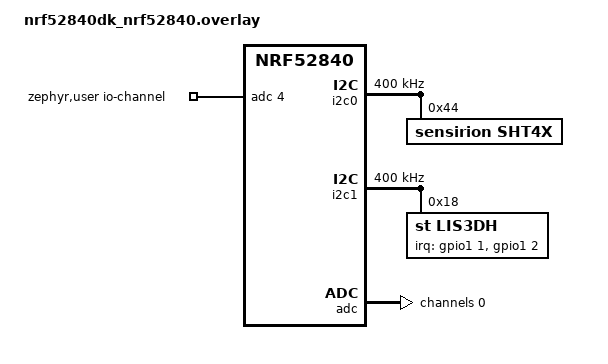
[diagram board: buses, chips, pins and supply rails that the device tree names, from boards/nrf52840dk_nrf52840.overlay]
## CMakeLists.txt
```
# Copyright (c) Blecon Ltd
# SPDX-License-Identifier: Apache-2.0

cmake_minimum_required(VERSION 3.20.0)

set(CMAKE_C_STANDARD 11)
set_property(GLOBAL PROPERTY CSTD c11)

# include top-level application defines
include(../../cmake/app.cmake)

find_package(Zephyr REQUIRED HINTS $ENV{ZEPHYR_BASE})


project(sensor-memfault)
target_sources(app PRIVATE src/main.c)

zephyr_include_directories(config)
```

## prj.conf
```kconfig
# Copyright (c) Blecon Ltd
# SPDX-License-Identifier: Apache-2.0
CONFIG_BT_DIS_MODEL="S5-BCN"
CONFIG_BT_DIS_MANUF="KKM"

CONFIG_GPIO=y
CONFIG_PWM=y
CONFIG_LED=y
CONFIG_INPUT=y
CONFIG_INPUT_MODE_SYNCHRONOUS=y
CONFIG_ZCBOR=y
CONFIG_ADC=y
CONFIG_FPU=y
CONFIG_I2C=y
CONFIG_SENSOR=y

# DFU Image Management
CONFIG_FLASH_JESD216_API=y
CONFIG_FLASH_MAP=y
CONFIG_STREAM_FLASH=y
CONFIG_IMG_MANAGER=y
CONFIG_IMG_ENABLE_IMAGE_CHECK=y
CONFIG_IMG_ERASE_PROGRESSIVELY=y

# Use PSA for flash integrity checks, not Mbed TLS
CONFIG_FLASH_AREA_CHECK_INTEGRITY_PSA=y
CONFIG_FLASH_AREA_CHECK_INTEGRITY_MBEDTLS=n

# Motion sensing interrupt configuration
CONFIG_LIS2DH_TRIGGER_GLOBAL_THREAD=y
#CONFIG_LIS2DH_TRIGGER_OWN_THREAD=y
CONFIG_LIS2DH_ACCEL_HP_FILTERS=y

# Enable battery monitoring
CONFIG_BLECON_LIB_BATTERY=y

# Enable motion sensing
CONFIG_BLECON_LIB_MOTION=y

# Enable Blecon integration
CONFIG_BLECON=y

# Enable Memfault integration
CONFIG_MEMFAULT=y
CONFIG_MEMFAULT_METRICS_DEFAULT_SET_ENABLE=y
CONFIG_MEMFAULT_METRICS_CPU_TEMP=n
CONFIG_MEMFAULT_METRICS_CONNECTIVITY_CONNECTED_TIME=n
CONFIG_MEMFAULT_USER_CONFIG_SILENT_FAIL=n

CONFIG_BLECON_MEMFAULT=y
CONFIG_BLECON_MEMFAULT_SOFTWARE_TYPE="main"

# Enable OTA library
CONFIG_BLECON_LIB_OTA=y

# Disable Nordic-provided Memfault integration
CONFIG_MEMFAULT_NCS_PROJECT_KEY="XXX"
CONFIG_MEMFAULT_NCS_FW_TYPE="XXX"
CONFIG_MEMFAULT_NCS_DEVICE_ID="XXX"
CONFIG_MEMFAULT_NCS_FW_VERSION_PREFIX="dev2+"
CONFIG_MEMFAULT_NCS_PROVISION_CERTIFICATES=n
CONFIG_MEMFAULT_NCS_STACK_METRICS=n
CONFIG_MEMFAULT_DEVICE_INFO_CUSTOM=y

# Events
CONFIG_EVENTS=y

# Logging
CONFIG_PRINTK=y
CONFIG_LOG=y
CONFIG_LOG_PRINTK=y
CONFIG_LOG_BUFFER_SIZE=4096
CONFIG_SHELL_LOG_BACKEND=n
CONFIG_LOG_DEFAULT_LEVEL=3

# Optimize for size
CONFIG_SIZE_OPTIMIZATIONS=y
# CONFIG_DEBUG_OPTIMIZATIONS=y

# Heap
CONFIG_HEAP_MEM_POOL_SIZE=4096

# Main thread
CONFIG_MAIN_STACK_SIZE=16384

# System workqueue
CONFIG_SYSTEM_WORKQUEUE_STACK_SIZE=16384

# Asserts
CONFIG_ASSERT=y
CONFIG_ASSERT_VERBOSE=y

# Shell
CONFIG_SHELL=n
CONFIG_SHELL_BACKEND_SERIAL=n
```

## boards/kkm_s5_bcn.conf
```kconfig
# Copyright (c) Blecon Ltd
# SPDX-License-Identifier: Apache-2.0

CONFIG_MEMFAULT_RAM_BACKED_COREDUMP_SIZE=4096
CONFIG_LOG_BUFFER_SIZE=2048

# Select internal modem
CONFIG_BLECON_EXTERNAL_MODEM=n
CONFIG_BLECON_INTERNAL_MODEM=y
CONFIG_BLECON_INTERNAL_MODEM_NFC=n

# Internal modem platform
CONFIG_BLECON_PORT_CRYPTO=y
CONFIG_BLECON_PORT_NVM=y
CONFIG_BLECON_PORT_BLUETOOTH=y
CONFIG_BLECON_PORT_EVENT_LOOP=y
CONFIG_BLECON_PORT_NFC=n

# Bluetooth
CONFIG_BT=y
CONFIG_BT_OBSERVER=y
CONFIG_BT_BROADCASTER=y
CONFIG_BT_PERIPHERAL=y
CONFIG_BT_USER_PHY_UPDATE=y

# At the moment, the following options are required to get L2CAP dynamic channels enabled
CONFIG_BT_SMP=y
# CONFIG_BT_CONN_DISABLE_SECURITY=y
CONFIG_BT_PRIVACY=n

CONFIG_BT_EXT_ADV=y
CONFIG_BT_L2CAP_DYNAMIC_CHANNEL=y
CONFIG_BT_L2CAP_SEG_RECV=y
CONFIG_BT_EXT_ADV_MAX_ADV_SET=3
CONFIG_BT_ID_MAX=3
CONFIG_BT_LONG_WQ=n
CONFIG_BT_BONDABLE=n
CONFIG_BT_GATT_SERVICE_CHANGED=n
CONFIG_BT_GATT_CACHING=n
CONFIG_BT_GATT_ENFORCE_SUBSCRIPTION=n
CONFIG_BT_GATT_READ_MULTIPLE=n
CONFIG_BT_DEVICE_NAME="Blecon"
CONFIG_BT_DIS=y
CONFIG_BT_DIS_PNP=n
CONFIG_BT_ECC=n

# Needs to be 1 + number of expected connections; See: https://devzone.nordicsemi.com/f/nordic-q-a/77588/advertising-failed-to-start-err--12/321268
CONFIG_BT_MAX_CONN=2

# Connection parameter update procedure
CONFIG_BT_CONN_PARAM_UPDATE_TIMEOUT=500

# DLE
CONFIG_BT_USER_DATA_LEN_UPDATE=y

# Needed to achieve MTU without fragmentation
CONFIG_BT_BUF_ACL_TX_COUNT=8
CONFIG_BT_BUF_ACL_TX_SIZE=251
CONFIG_BT_BUF_ACL_RX_SIZE=251
CONFIG_BT_L2CAP_TX_MTU=247

# Increase HCI RX stack size
CONFIG_BT_RX_STACK_SIZE=4096

# Bluetooth controller
# Uncomment to use the Zephyr link layer
# CONFIG_BT_LL_SW_SPLIT=y
CONFIG_BT_CTLR_CRYPTO=n
CONFIG_BT_CTLR_LE_ENC=n
CONFIG_BT_CTLR_ECDH=n
CONFIG_BT_CTLR_PHY_2M=n
CONFIG_BT_CTLR_PRIVACY=n
CONFIG_BT_LL_SOFTDEVICE_MULTIROLE=y
CONFIG_BT_CTLR_DATA_LENGTH_MAX=251

# NFC
#CONFIG_NFC_T2T_NRFXLIB=n
#CONFIG_NFC_NDEF_URI_MSG=n
#CONFIG_NFC_NDEF=y
#CONFIG_NFC_NDEF_MSG=y
#CONFIG_NFC_NDEF_RECORD=y
#CONFIG_NFC_NDEF_URI_REC=y

# Crypto
CONFIG_ENTROPY_GENERATOR=y

CONFIG_NRF_SECURITY=y
CONFIG_MBEDTLS_PSA_CRYPTO_C=y

CONFIG_MBEDTLS_ENABLE_HEAP=y
CONFIG_MBEDTLS_HEAP_SIZE=8192

# NVM
CONFIG_FLASH=y
CONFIG_FLASH_PAGE_LAYOUT=y

# Logging Output
CONFIG_LOG_BACKEND_RTT=y

# ADC
CONFIG_ADC_NRFX_SAADC=y

# SPI
CONFIG_SPI=y
CONFIG_SPI_NOR=y
CONFIG_SPI_NOR_FLASH_LAYOUT_PAGE_SIZE=4096
CONFIG_SPI_NRFX_RAM_BUFFER_SIZE=32
CONFIG_PM_OVERRIDE_EXTERNAL_DRIVER_CHECK=y
```

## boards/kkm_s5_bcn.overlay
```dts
/*
 * Copyright (c) Blecon Ltd
 * SPDX-License-Identifier: Apache-2.0
 */

/ {
    zephyr,user {
		io-channels = <&adc 0>;
	};
	aliases {
		accel0 = &lis3dh;
	};
};
```

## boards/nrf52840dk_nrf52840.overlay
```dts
/*
 * Copyright (c) Blecon Ltd
 * SPDX-License-Identifier: Apache-2.0
 */

/ {
    chosen {
        nordic,pm-ext-flash = &mx25r64;
    };

    zephyr,user {
		io-channels = <&adc 4>;
	};
    aliases {
		accel0 = &lis3dh;
	};
};

&i2c0 {
    compatible = "nordic,nrf-twim";
    clock-frequency = <I2C_BITRATE_FAST>;

    sht4x: sht4x@44 {
        compatible = "sensirion,sht4x";
        repeatability = <1>;
        reg = <0x44>;
        status = "okay";
    };

};

&i2c1 {
    compatible = "nordic,nrf-twim";
    clock-frequency = <I2C_BITRATE_FAST>;
    status = "okay";

    lis3dh: lis3dh@18 {
        compatible = "st,lis3dh", "st,lis2dh";
        reg = <0x18>;
        irq-gpios = <&gpio1 1 GPIO_ACTIVE_HIGH>, <&gpio1 2 GPIO_ACTIVE_HIGH>;
        int1-gpio-config = <1>;
        int2-gpio-config = <1>;
        status = "okay";
    };
};

&adc {
    #address-cells = <1>;
	#size-cells = <0>;

	channel@0 {
		reg = <0>;
		zephyr,gain = "ADC_GAIN_1_6";
		zephyr,reference = "ADC_REF_INTERNAL";
		zephyr,acquisition-time = <ADC_ACQ_TIME_DEFAULT>;
		zephyr,input-positive = <NRF_SAADC_VDD>;
		zephyr,resolution = <12>;
		zephyr,oversampling = <8>;
	};
};
```

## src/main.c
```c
// Copyright (c) Blecon Ltd
// SPDX-License-Identifier: Apache-2.0

#include <stdio.h>
#include <zephyr/kernel.h>
#include <zephyr/logging/log.h>
#include <blecon/blecon.h>
#include <zephyr/drivers/gpio.h>
#include <zephyr/drivers/led.h>
#include <zephyr/input/input.h>
#include <zephyr/drivers/sensor/sht4x.h>

#include <zephyr/drivers/flash.h>
#include <zephyr/storage/flash_map.h>
#include <zephyr/dfu/flash_img.h>
#include <zephyr/sys/reboot.h>

#include <memfault/metrics/metrics.h>
#include <memfault/components.h>

#include "battery/battery.h"
#include <blecon/blecon_buffer.h>

#include "motion/motion.h"
#include "ota/ota.h"
#include "blecon_zephyr/blecon_zephyr.h"
#include "blecon_zephyr/blecon_zephyr_event_loop.h"
#include "blecon_zephyr/blecon_zephyr_memfault.h"
#include "blecon/blecon_memfault_client.h"

#define MEMFAULT_REQUEST_NAMESPACE "memfault"

LOG_MODULE_REGISTER(main, LOG_LEVEL_DBG);

#define MOTION_ACC_THRESHOLD 6.0   // Acceleration threshold to register a motion event (in m/s^2)

#define REPORT_PERIOD_SEC 30      // How frequently to check if there are metrics/dumps to send
#define OTA_CHECK_PERIOD_SEC 180  // How frequently to check if there are OTA updates
#define REBOOT_PERIOD_SEC 4500    // How frequently to reboot

#define FAST_BLINK_PERIOD_MS 200U
#define SLOW_BLINK_PERIOD_MS 500U

static bool _time_set = false;
static uint32_t _pre_uptime = 0;
static uint32_t _epoch = 0;

static struct blecon_t _blecon = {0};
static struct blecon_event_loop_t* _event_loop = NULL;

static struct blecon_event_t* _start_announce_event = NULL;
static struct blecon_event_t* _start_connect_event = NULL;
static struct blecon_event_t* _ota_check_event = NULL;
static struct blecon_event_t* _connected_event = NULL;

const static struct device *led_pwm;
const static struct device *sht = DEVICE_DT_GET_ANY(sensirion_sht4x);
const static struct device *accel = DEVICE_DT_GET(DT_ALIAS(accel0));

// Function prototypes
static uint32_t get_time(void);
static int read_temp_hum(float *temp, float *hum);
static void update_metrics(void);

// Connection callbacks
static void on_connection(struct blecon_t* blecon);
static void on_disconnection(struct blecon_t* blecon);
static void on_time_update(struct blecon_t* blecon);
static void on_ping_result(struct blecon_t* blecon);

const static struct blecon_callbacks_t blecon_callbacks = {
    .on_connection = on_connection,
    .on_disconnection = on_disconnection,
    .on_time_update = on_time_update,
    .on_ping_result = on_ping_result,
};

// Input and timer callbacks
static void led_timeout(struct k_timer *timer);
static void input_cb(struct input_event *evt, void* user_data);
static void send_report(struct k_timer *timer);
static void check_for_ota(struct k_timer *timer);
static void reboot(struct k_timer *timer);

K_TIMER_DEFINE(led_timer, led_timeout, NULL);
K_TIMER_DEFINE(report_timer, send_report, NULL);
K_TIMER_DEFINE(ota_timer, check_for_ota, NULL);
K_TIMER_DEFINE(reboot_timer, reboot, NULL);

INPUT_CALLBACK_DEFINE(NULL, input_cb, NULL);

// Motion
static uint32_t _motion_count = 0;
static uint32_t _gesture_count = 0;
void (*gesture_detection_callback)(void) = NULL; // Run gesture detection on motion events
void on_gesture_detected();

static void motion_start_event(void);
static void motion_stop_event(void);
static void motion_vector_event(float x, float y, float z);

const struct blecon_motion_event_callbacks_t motion_event_callbacks = {
    .start = motion_start_event,
    .stop = motion_stop_event,
    .vector = motion_vector_event
};

// Blecon activity triggers
static void on_announce_button(struct blecon_event_t* event, void* user_data);
static void on_start_connect(struct blecon_event_t* event, void* user_data);
static void on_check_for_ota(struct blecon_event_t* event, void* user_data);
static void on_connection_event(struct blecon_event_t* event, void* user_data);

uint32_t get_time(void) {
    bool time_valid = false;
    uint64_t utc_time_ms_now = 0;
    uint64_t utc_time_ms_last_updated = 0;
    bool b = blecon_get_time(&_blecon, &time_valid, &utc_time_ms_now, &utc_time_ms_last_updated);
    blecon_assert(b);
    blecon_assert(time_valid);
    return (uint32_t)(utc_time_ms_now / 1000);
}

void on_connection(struct blecon_t* blecon) {
    LOG_DBG("%s", "Connected");
    blecon_event_signal(_connected_event);
}

void on_disconnection(struct blecon_t* blecon) {
    LOG_DBG("%s", "Disconnected");
}

void on_time_update(struct blecon_t* blecon) {
    if (!_time_set) {
        _epoch = get_time() - _pre_uptime;
    }
    _time_set = true;
    LOG_DBG("%s", "Time updated");
}

void on_ping_result(struct blecon_t* blecon) {
    return;
}

void led_timeout(struct k_timer *timer) {
    int ret;
    ret = led_off(led_pwm, 0);
    if(ret < 0) {
        LOG_ERR("err=%d", ret);
        return;
    }
}

int read_temp_hum(float *temp, float *hum) {
    struct sensor_value s_temp, s_hum;

    if (sensor_sample_fetch(sht)) {
        LOG_ERR("%s", "Failed to fetch sample from SHT4X device");
        return -1;
    }

    sensor_channel_get(sht, SENSOR_CHAN_AMBIENT_TEMP, &s_temp);
    sensor_channel_get(sht, SENSOR_CHAN_HUMIDITY, &s_hum);

    *temp = sensor_value_to_float(&s_temp);
    *hum = sensor_value_to_float(&s_hum);

    return 0;
}

void send_report(struct k_timer *timer) {
    // this is ISR context so post event
    blecon_event_signal(_start_connect_event);
}

void check_for_ota(struct k_timer *timer) {
    blecon_event_signal(_ota_check_event);
}

void reboot(struct k_timer *timer) {
    sys_reboot(SYS_REBOOT_WARM);
}


void input_cb(struct input_event *evt, void* user_data)
{
    switch (evt->code) {
    case INPUT_KEY_0:
        if(evt->value == 1) {
            blecon_event_signal(_start_announce_event);
        }
        break;
    default:
        break;
    }
}

void on_announce_button(struct blecon_event_t* event, void* user_data) {
    int ret;

    ret = led_blink(led_pwm, 0, FAST_BLINK_PERIOD_MS/2U, FAST_BLINK_PERIOD_MS/2U);
    if(ret < 0) {
         LOG_ERR("blink error=%d", ret);
        return;
    }

    if(!blecon_announce(&_blecon)) {
        LOG_ERR("Error: %s", "announce");
        return;
    }

    k_timer_start(&led_timer, K_SECONDS(5), K_FOREVER);
}

void on_start_connect(struct blecon_event_t* event, void* user_data) {
    if(memfault_packetizer_data_available()) {
        LOG_DBG("%s", "Starting connection");
        if(!blecon_connection_initiate(&_blecon)) {
            LOG_ERR("Error: %s", "could not initiate connection.");
        }
    }
}

void on_check_for_ota(struct blecon_event_t* event, void* user_data) {
    LOG_INF("Checking for OTA");
    ota_check_request();
}

void on_connection_event(struct blecon_event_t* event, void* user_data) {
    // Do not hold connection open (Memfault and OTA clients will keep it open as needed)
    if( blecon_is_connected(&_blecon) ) {
        blecon_connection_terminate(&_blecon);
    }
}

int main(void)
{
    int ret;

	if (!device_is_ready(sht)) {
		LOG_ERR("Device %s is not ready.", sht->name);
		return 0;
	}

    _motion_count = 0;
    ret = init_motion(accel, MOTION_ACC_THRESHOLD, &motion_event_callbacks);
    if (ret) {
        LOG_ERR("Could not initialize acclerometer: %d", ret);
    }

    k_timer_start(&reboot_timer, K_SECONDS(REBOOT_PERIOD_SEC), K_FOREVER);

    #if CONFIG_MEMFAULT_DEMO_GESTURE_DETECT
        gesture_detection_callback = on_gesture_detected;
    #endif

    led_pwm = DEVICE_DT_GET(DT_PATH(pwmleds));
    if (!device_is_ready(led_pwm)) {
        LOG_ERR("Device %s is not ready\n", led_pwm->name);
        return 0;
    }

     // Get event loop
    _event_loop = blecon_zephyr_get_event_loop();

    // Get modem
    struct blecon_modem_t* modem = blecon_zephyr_get_modem();

    // Register events that need to be run on the Blecon thread
    _start_announce_event = blecon_event_loop_register_event(_event_loop, on_announce_button, NULL);
    _start_connect_event = blecon_event_loop_register_event(_event_loop, on_start_connect, NULL);
    _ota_check_event = blecon_event_loop_register_event(_event_loop, on_check_for_ota, NULL);
    _connected_event = blecon_event_loop_register_event(_event_loop, on_connection_event, NULL);

    blecon_init(&_blecon, modem);
    blecon_set_callbacks(&_blecon, &blecon_callbacks, NULL);
    if(!blecon_setup(&_blecon)) {
        return 1;
    }

    // Memfault
    struct blecon_memfault_t* memfault = blecon_zephyr_memfault_init();

    struct blecon_memfault_client_t memfault_client;

    uint8_t blecon_id[BLECON_UUID_SZ] = {0};
    if(!blecon_get_identity(&_blecon, blecon_id)) {
        printk("Failed to get identity\r\n");
        return 1;
    }

    blecon_memfault_client_init(&memfault_client, blecon_get_request_processor(&_blecon), memfault, blecon_id, MEMFAULT_REQUEST_NAMESPACE);

    // Print device URL
    char blecon_url[BLECON_URL_SZ] = {0};
    if(!blecon_get_url(&_blecon, blecon_url, sizeof(blecon_url))) {
        printk("Failed to get device URL\r\n");
        return 1;
    }
    LOG_INF("Device URL: %s", blecon_url);

    // Init OTA module
    ota_init(_event_loop, &_blecon, MEMFAULT_REQUEST_NAMESPACE);

    k_timer_start(&report_timer, K_SECONDS(REPORT_PERIOD_SEC), K_SECONDS(REPORT_PERIOD_SEC));
    k_timer_start(&ota_timer, K_SECONDS(OTA_CHECK_PERIOD_SEC), K_SECONDS(OTA_CHECK_PERIOD_SEC));

    blecon_event_loop_run(_event_loop);
    // won't ever reach here
    return 0;
}

// Handle memfault metric heartbeat timer
// This overrides a weak definition
void memfault_metrics_heartbeat_collect_data(void) {
    // Metrics are committed and reset per heartbeat, populating them here ensures at least one point per heartbeat
    update_metrics();
}

void update_metrics(void) {
    LOG_DBG("updating metrics");
    MEMFAULT_METRIC_SET_UNSIGNED(battery_voltage_mv, battery_sample());
    MEMFAULT_METRIC_SET_UNSIGNED(buffers_allocation_count, blecon_buffer_total_allocations_count());
    MEMFAULT_METRIC_SET_UNSIGNED(buffers_allocation_size, blecon_buffer_total_allocations_size());

    float temperature, humidity;
    int ret = read_temp_hum(&temperature, &humidity);
    if (ret < 0) {
        LOG_ERR("Error: could not read temperature/humidity");
        return;
    }

    MEMFAULT_METRIC_SET_UNSIGNED(motion_count, (_motion_count));
    MEMFAULT_METRIC_SET_UNSIGNED(gesture_count, (_gesture_count));
    MEMFAULT_METRIC_SET_UNSIGNED(humidity, (uint32_t) (humidity * 1000));
    MEMFAULT_METRIC_SET_SIGNED(temperature, (int32_t) (temperature * 1000));
}

static void motion_start_event(void) {
    int ret;
    LOG_DBG("Motion start");
    _motion_count += 1;

    ret = led_on(led_pwm, 0);
    if(ret < 0) {
         LOG_ERR("LED error=%d", ret);
        return;
    }
    k_timer_start(&led_timer, K_MSEC(700), K_FOREVER);
}

static void motion_stop_event(void) {
    LOG_DBG("Motion stop");
}

static void motion_vector_event(float x, float y, float z) {
    LOG_DBG("Motion vector: %f %f %f", (double) x, (double) y, (double) z);
    gesture_detection_callback();
}

void on_gesture_detected() {
    int ret;
    LOG_INF("Gesture detected");
    _gesture_count += 1;

    ret = led_on(led_pwm, 0);
    if(ret < 0) {
         LOG_ERR("LED error=%d", ret);
        return;
    }
    k_timer_start(&led_timer, K_MSEC(500), K_FOREVER);
}
```
